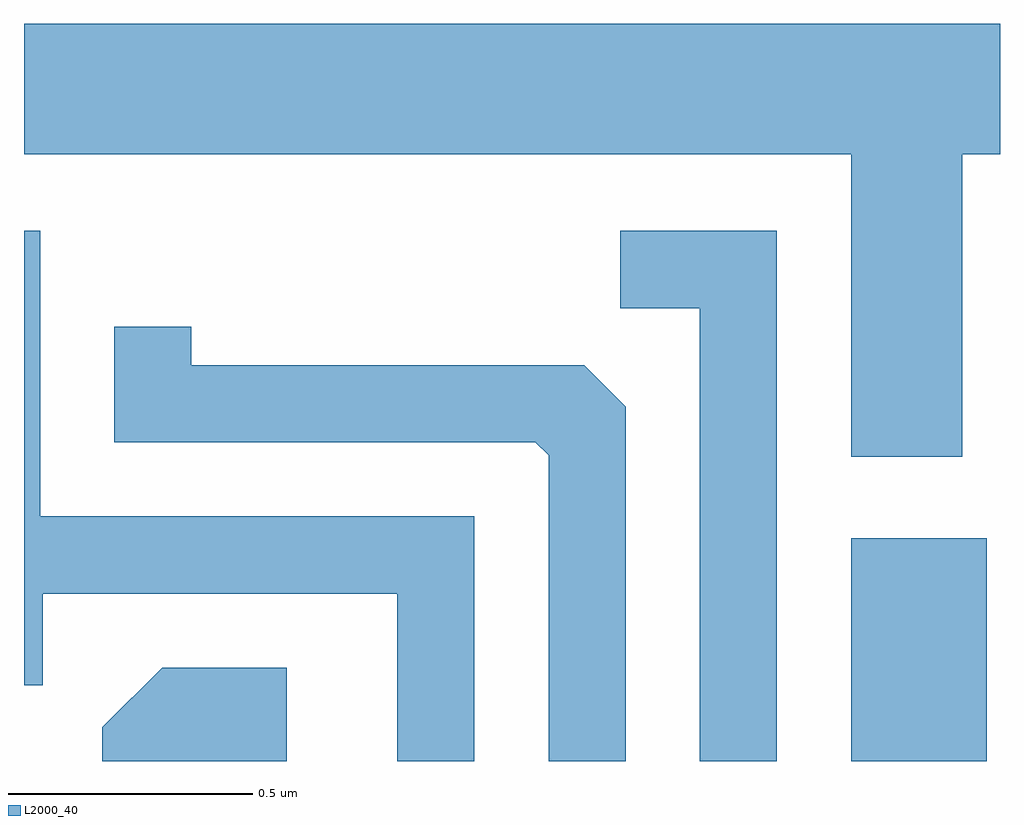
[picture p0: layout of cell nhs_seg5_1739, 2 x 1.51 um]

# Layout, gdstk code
import gdstk
lib = gdstk.Library(unit=1e-6, precision=1e-09)
def R(c, l, rs):  # rectangles x0, y0, x1, y1
    for r in rs: c.add(gdstk.rectangle(r[:2], r[2:], *l))
def P(c, l, *ps):  # polygons
    for p in ps: c.add(gdstk.Polygon(p, *l))
L2000_40 = (2000, 40)

nhs_seg5_1739 = lib.new_cell('nhs_seg5_1739')
R(nhs_seg5_1739, L2000_40, [(199.306,1491.072,199.584,1491.529)])
P(nhs_seg5_1739, L2000_40, [(199.534,1492.316),(199.611,1492.316),(199.611,1492.584),(197.611,1492.584),(197.611,1492.316),(199.306,1492.316),(199.306,1491.696),(199.534,1491.696)],
  [(199.154,1492.159),(198.833,1492.159),(198.833,1492.001),(198.996,1492.001),(198.996,1491.072),(199.154,1491.072)],
  [(198.534,1491.574),(197.644,1491.574),(197.644,1492.159),(197.611,1492.159),(197.611,1491.228),(197.649,1491.228),(197.649,1491.416),(198.376,1491.416),(198.376,1491.072),(198.534,1491.072)],
  [(198.844,1491.799),(198.759,1491.884),(197.954,1491.884),(197.954,1491.963),(197.796,1491.963),(197.796,1491.726),(198.659,1491.726),(198.686,1491.699),(198.686,1491.072),(198.844,1491.072)],
  [(198.149,1491.264),(197.894,1491.264),(197.771,1491.142),(197.771,1491.072),(198.149,1491.072)])

lib.write_gds('nhs_seg5_1739.gds')
